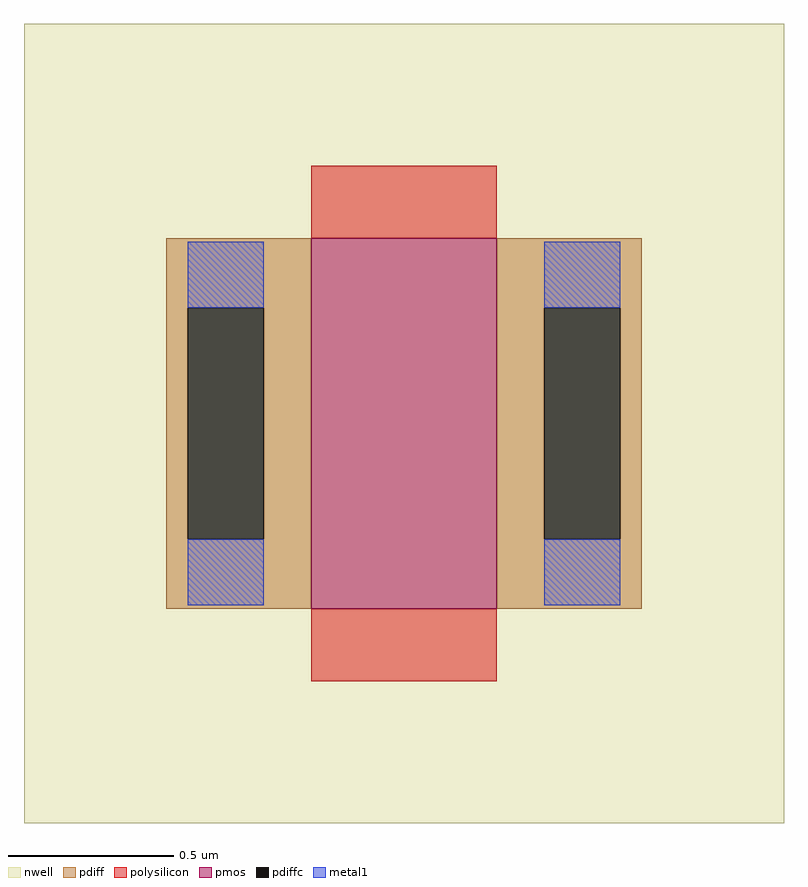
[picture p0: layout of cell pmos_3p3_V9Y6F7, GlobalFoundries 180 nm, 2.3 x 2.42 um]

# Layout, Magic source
magic
tech gf180mcuD
magscale 1 10
<< nwell >>
rect -230 -242 230 242
<< pmos >>
rect -56 -112 56 112
<< pdiff >>
rect -144 70 -56 112
rect -144 -70 -131 70
rect -85 -70 -56 70
rect -144 -112 -56 -70
rect 56 70 144 112
rect 56 -70 85 70
rect 131 -70 144 70
rect 56 -112 144 -70
<< pdiffc >>
rect -131 -70 -85 70
rect 85 -70 131 70
<< polysilicon >>
rect -56 112 56 156
rect -56 -156 56 -112
<< metal1 >>
rect -131 70 -85 110
rect -131 -110 -85 -70
rect 85 70 131 110
rect 85 -110 131 -70
<< end >>
